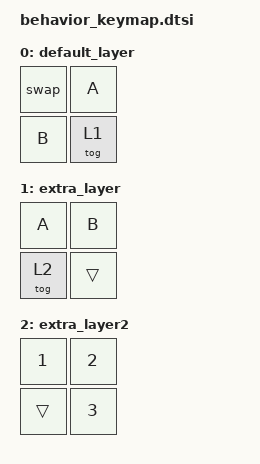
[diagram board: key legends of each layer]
#include <dt-bindings/zmk/keys.h>
#include <behaviors.dtsi>
#include <dt-bindings/zmk/kscan_mock.h>

/ {
    behaviors {
        swap: swap {
            compatible = "zmk,behavior-tri-state";
            label = "SWAPPER";
            #binding-cells = <0>;
            bindings = <&kt LALT>, <&kp TAB>, <&kt LALT>;
            ignored-key-positions = <2 3>;
            ignored-layers = <1>;
            timeout-ms = <200>;
        };
    };

    keymap {
        compatible = "zmk,keymap";
        label ="Default keymap";

        default_layer {
            bindings = <
                &swap    &kp A
                &kp B    &tog 1>;
        };

        extra_layer {
            bindings = <
                &kp A     &kp B
                &tog 2    &trans>;
        };

        extra_layer2 {
            bindings = <
                &kp N1    &kp N2
                &trans     &kp N3>;
        };
    };
};
